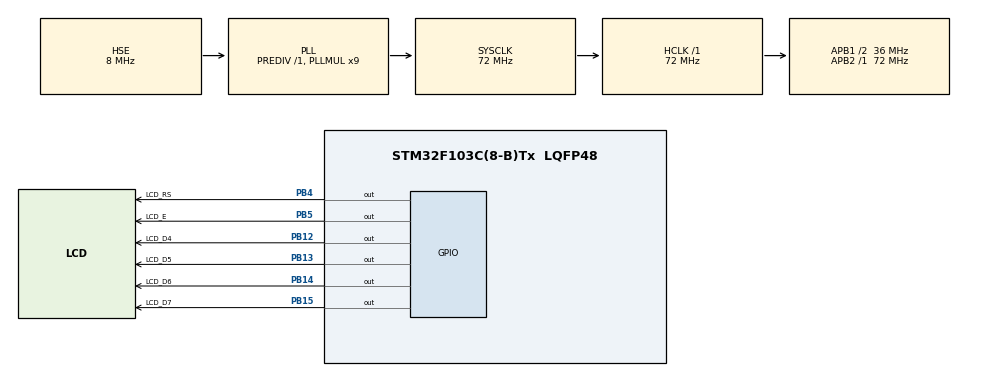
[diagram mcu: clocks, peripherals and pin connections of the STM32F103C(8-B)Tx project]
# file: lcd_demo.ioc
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Mcu.Family=STM32F1
Mcu.Name=STM32F103C(8-B)Tx
Mcu.Package=LQFP48
NVIC.PriorityGroup=NVIC_PRIORITYGROUP_4
PA13.Mode=Serial_Wire
PA13.Signal=SYS_JTMS-SWDIO
PA14.Mode=Serial_Wire
PA14.Signal=SYS_JTCK-SWCLK
PB12.GPIO_Label=LCD_D4
PB12.Signal=GPIO_Output
PB13.GPIO_Label=LCD_D5
PB13.Signal=GPIO_Output
PB14.GPIO_Label=LCD_D6
PB14.Signal=GPIO_Output
PB15.GPIO_Label=LCD_D7
PB15.Signal=GPIO_Output
PB4.GPIO_Label=LCD_RS
PB4.Signal=GPIO_Output
PB5.GPIO_Label=LCD_E
PB5.Signal=GPIO_Output
PD0-OSC_IN.Mode=HSE-External-Oscillator
PD0-OSC_IN.Signal=RCC_OSC_IN
PD1-OSC_OUT.Mode=HSE-External-Oscillator
PD1-OSC_OUT.Signal=RCC_OSC_OUT
ProjectManager.HeapSize=0x200
ProjectManager.StackSize=0x400
ProjectManager.TargetToolchain=SW4STM32
RCC.AHBFreq_Value=72000000
RCC.APB1CLKDivider=RCC_HCLK_DIV2
RCC.APB1Freq_Value=36000000
RCC.APB1TimFreq_Value=72000000
RCC.APB2Freq_Value=72000000
RCC.APB2TimFreq_Value=72000000
RCC.HCLKFreq_Value=72000000
RCC.PLLMUL=RCC_PLL_MUL9
RCC.PLLSourceVirtual=RCC_PLLSOURCE_HSE
RCC.SYSCLKFreq_VALUE=72000000
RCC.SYSCLKSource=RCC_SYSCLKSOURCE_PLLCLK
RCC.USBFreq_Value=72000000
board=custom

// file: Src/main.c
/**
  ******************************************************************************
  * @file           : main.c
  * @brief          : Main program body
  ******************************************************************************
  ** This notice applies to any and all portions of this file
  * that are not between comment pairs USER CODE BEGIN and
  * USER CODE END. Other portions of this file, whether
  * inserted by the user or by software development tools
  * are owned by their respective copyright owners.
  *
  * COPYRIGHT(c) 2018 STMicroelectronics
  *
  * Redistribution and use in source and binary forms, with or without modification,
  * are permitted provided that the following conditions are met:
  *   1. Redistributions of source code must retain the above copyright notice,
  *      this list of conditions and the following disclaimer.
  *   2. Redistributions in binary form must reproduce the above copyright notice,
  *      this list of conditions and the following disclaimer in the documentation
  *      and/or other materials provided with the distribution.
  *   3. Neither the name of STMicroelectronics nor the names of its contributors
  *      may be used to endorse or promote products derived from this software
  *      without specific prior written permission.
  *
  * THIS SOFTWARE IS PROVIDED BY THE COPYRIGHT HOLDERS AND CONTRIBUTORS "AS IS"
  * AND ANY EXPRESS OR IMPLIED WARRANTIES, INCLUDING, BUT NOT LIMITED TO, THE
  * IMPLIED WARRANTIES OF MERCHANTABILITY AND FITNESS FOR A PARTICULAR PURPOSE ARE
  * DISCLAIMED. IN NO EVENT SHALL THE COPYRIGHT HOLDER OR CONTRIBUTORS BE LIABLE
  * FOR ANY DIRECT, INDIRECT, INCIDENTAL, SPECIAL, EXEMPLARY, OR CONSEQUENTIAL
  * DAMAGES (INCLUDING, BUT NOT LIMITED TO, PROCUREMENT OF SUBSTITUTE GOODS OR
  * SERVICES; LOSS OF USE, DATA, OR PROFITS; OR BUSINESS INTERRUPTION) HOWEVER
  * CAUSED AND ON ANY THEORY OF LIABILITY, WHETHER IN CONTRACT, STRICT LIABILITY,
  * OR TORT (INCLUDING NEGLIGENCE OR OTHERWISE) ARISING IN ANY WAY OUT OF THE USE
  * OF THIS SOFTWARE, EVEN IF ADVISED OF THE POSSIBILITY OF SUCH DAMAGE.
  *
  ******************************************************************************
  */
#include "main.h"
#include "stm32f1xx_hal.h"

/* USER CODE BEGIN Includes */
#include "hd44780.h"
/* USER CODE END Includes */

/* USER CODE BEGIN PV */
/* Private variables ---------------------------------------------------------*/

/* USER CODE END PV */

void SystemClock_Config(void);
static void MX_GPIO_Init(void);

/* USER CODE BEGIN PFP */
/* Private function prototypes -----------------------------------------------*/
void imitationPrinting(char *ptr);
/* USER CODE END PFP */

int main(void)
{
  /* USER CODE BEGIN 1 */
  uint32_t SystemFreq = HAL_RCC_GetHCLKFreq();
  char str[17] = {};
  float pi = 3.14;
  int t = 123;
  unsigned char men1[FONT_HEIGHT] = {0x0e,0x0e,0x04,0x1f,0x04,0x1a,0x01,0x00};
  unsigned char men2[FONT_HEIGHT] = {0x07,0x07,0x0a,0x07,0x02,0x05,0x09,0x00};
  /* USER CODE END 1 */

  /* MCU Configuration----------------------------------------------------------*/

  /* Reset of all peripherals, Initializes the Flash interface and the Systick. */
  HAL_Init();

  /* Configure the system clock */
  SystemClock_Config();

  /* Initialize all configured peripherals */
  MX_GPIO_Init();
  /* USER CODE BEGIN 2 */
  lcdInit();
  /* USER CODE END 2 */

  /* Infinite loop */
  /* USER CODE BEGIN WHILE */
  while (1)
  {
	  lcdClrScr();
	  lcdGoto(LCD_1st_LINE,0);
	  lcdPuts("System Workbench\nFreq MCU ");
	  lcdItos(SystemFreq/1000000);
	  lcdPuts(" Mhz");
	  HAL_Delay(3000);

      for (int i = 0; i < 16; ++i)
      {
    	  lcdScroll(RIGHT);
	      HAL_Delay(250);
	  }

	  lcdClrScr();
	  sprintf(str,"STM32F103C8 and");
	  imitationPrinting(str);
	  sprintf(str,"LCD WH1602A Demo");
	  lcdGoto(LCD_2nd_LINE,0);
	  imitationPrinting(str);
	  HAL_Delay(3000);

	  for (int i = 0; i < 16; ++i)
	  {
		  lcdScroll(LEFT);
	      HAL_Delay(250);
	  }

	  HAL_Delay(1000);

	  for (int i = 0; i < 16; ++i)
	  {
		  lcdScroll(RIGHT);
	      HAL_Delay(250);
	  }

      HAL_Delay(2000);
      lcdClrScr();
      lcdPuts("Float = ");
      lcdFtos(pi,2);
      lcdGoto(LCD_2nd_LINE,0);
      lcdPuts("Integer = ");
      lcdItos(t);
      HAL_Delay(3000);
      lcdSetMode(VIEW_MODE_DispOn_BlkOff_CrsOn);
      lcdGoto(LCD_2nd_LINE,16);

      for (int i = 0; i < 16; ++i)
      {
    	  lcdBackSpace();
	      HAL_Delay(100);
	  }

      lcdGoto(LCD_1st_LINE,16);

      for (int i = 0; i < 16; ++i)
      {
	      lcdBackSpace();
	      HAL_Delay(100);
      }

      lcdSetMode(VIEW_MODE_DispOn_BlkOff_CrsOff);
      lcdReturn();
      lcdPuts("\tLoading...");
      lcdGoto(PROGRESS_BAR_LINE, PROGRESS_BAR_WIDTH);
      lcdPuts("[   %]");

      for(uint8_t i = 0; i <= PROGRESS_BAR_MAX_LOAD; ++i)
      {
    	  lcdGoto(PROGRESS_BAR_LINE, PROGRESS_BAR_WIDTH + 1);
	      lcdNtos((i*100)/PROGRESS_BAR_MAX_LOAD, 3);
	      lcdDrawBar(i);
	      HAL_Delay(100);
      }

      HAL_Delay(3000);
      lcdClrScr();
      lcdLoadChar(men1,6);
      lcdLoadChar(men2,7);

      lcdPuts("\tRunning men\n");

      for(uint8_t i = 0; i < 8; i++)
      {
	      lcdPutc(6);
	      HAL_Delay(250);
	      cursorShift(LEFT);
	      lcdPutc(' ');
	      lcdPutc(7);
	      HAL_Delay(250);
	      cursorShift(LEFT);
	      lcdPutc(' ');
	  }
  /* USER CODE END WHILE */

  }

}

void SystemClock_Config(void)
{

  RCC_OscInitTypeDef RCC_OscInitStruct;
  RCC_ClkInitTypeDef RCC_ClkInitStruct;

    /**Initializes the CPU, AHB and APB busses clocks
    */
  RCC_OscInitStruct.OscillatorType = RCC_OSCILLATORTYPE_HSE;
  RCC_OscInitStruct.HSEState = RCC_HSE_ON;
  RCC_OscInitStruct.HSEPredivValue = RCC_HSE_PREDIV_DIV1;
  RCC_OscInitStruct.HSIState = RCC_HSI_ON;
  RCC_OscInitStruct.PLL.PLLState = RCC_PLL_ON;
  RCC_OscInitStruct.PLL.PLLSource = RCC_PLLSOURCE_HSE;
  RCC_OscInitStruct.PLL.PLLMUL = RCC_PLL_MUL9;
  if (HAL_RCC_OscConfig(&RCC_OscInitStruct) != HAL_OK)
  {
    _Error_Handler(__FILE__, __LINE__);
  }

    /**Initializes the CPU, AHB and APB busses clocks
    */
  RCC_ClkInitStruct.ClockType = RCC_CLOCKTYPE_HCLK|RCC_CLOCKTYPE_SYSCLK
                              |RCC_CLOCKTYPE_PCLK1|RCC_CLOCKTYPE_PCLK2;
  RCC_ClkInitStruct.SYSCLKSource = RCC_SYSCLKSOURCE_PLLCLK;
  RCC_ClkInitStruct.AHBCLKDivider = RCC_SYSCLK_DIV1;
  RCC_ClkInitStruct.APB1CLKDivider = RCC_HCLK_DIV2;
  RCC_ClkInitStruct.APB2CLKDivider = RCC_HCLK_DIV1;

  if (HAL_RCC_ClockConfig(&RCC_ClkInitStruct, FLASH_LATENCY_2) != HAL_OK)
  {
    _Error_Handler(__FILE__, __LINE__);
  }

    /**Configure the Systick interrupt time
    */
  HAL_SYSTICK_Config(HAL_RCC_GetHCLKFreq()/1000);

    /**Configure the Systick
    */
  HAL_SYSTICK_CLKSourceConfig(SYSTICK_CLKSOURCE_HCLK);

  /* SysTick_IRQn interrupt configuration */
  HAL_NVIC_SetPriority(SysTick_IRQn, 0, 0);
}

/** Configure pins as
        * Analog
        * Input
        * Output
        * EVENT_OUT
        * EXTI
*/
static void MX_GPIO_Init(void)
{

  GPIO_InitTypeDef GPIO_InitStruct;

  /* GPIO Ports Clock Enable */
  __HAL_RCC_GPIOD_CLK_ENABLE();
  __HAL_RCC_GPIOB_CLK_ENABLE();
  __HAL_RCC_GPIOA_CLK_ENABLE();

  /*Configure GPIO pin Output Level */
  HAL_GPIO_WritePin(GPIOB, LCD_D4_Pin|LCD_D5_Pin|LCD_D6_Pin|LCD_D7_Pin
                          |LCD_RS_Pin|LCD_E_Pin, GPIO_PIN_RESET);

  /*Configure GPIO pins : LCD_D4_Pin LCD_D5_Pin LCD_D6_Pin LCD_D7_Pin
                           LCD_RS_Pin LCD_E_Pin */
  GPIO_InitStruct.Pin = LCD_D4_Pin|LCD_D5_Pin|LCD_D6_Pin|LCD_D7_Pin
                          |LCD_RS_Pin|LCD_E_Pin;
  GPIO_InitStruct.Mode = GPIO_MODE_OUTPUT_PP;
  GPIO_InitStruct.Pull = GPIO_NOPULL;
  GPIO_InitStruct.Speed = GPIO_SPEED_FREQ_LOW;
  HAL_GPIO_Init(GPIOB, &GPIO_InitStruct);

}

/* USER CODE BEGIN 4 */
void imitationPrinting(char *ptr)
{

 lcdSetMode(VIEW_MODE_DispOn_BlkOff_CrsOn);

 while(*ptr != 0)
 {

  lcdPutc(*ptr++);

  HAL_Delay(100);
 }

 lcdSetMode(VIEW_MODE_DispOn_BlkOff_CrsOff);
}
/* USER CODE END 4 */

void _Error_Handler(char *file, int line)
{
  while(1)
  {
  }
}

/************************ (C) COPYRIGHT STMicroelectronics *****END OF FILE****/
